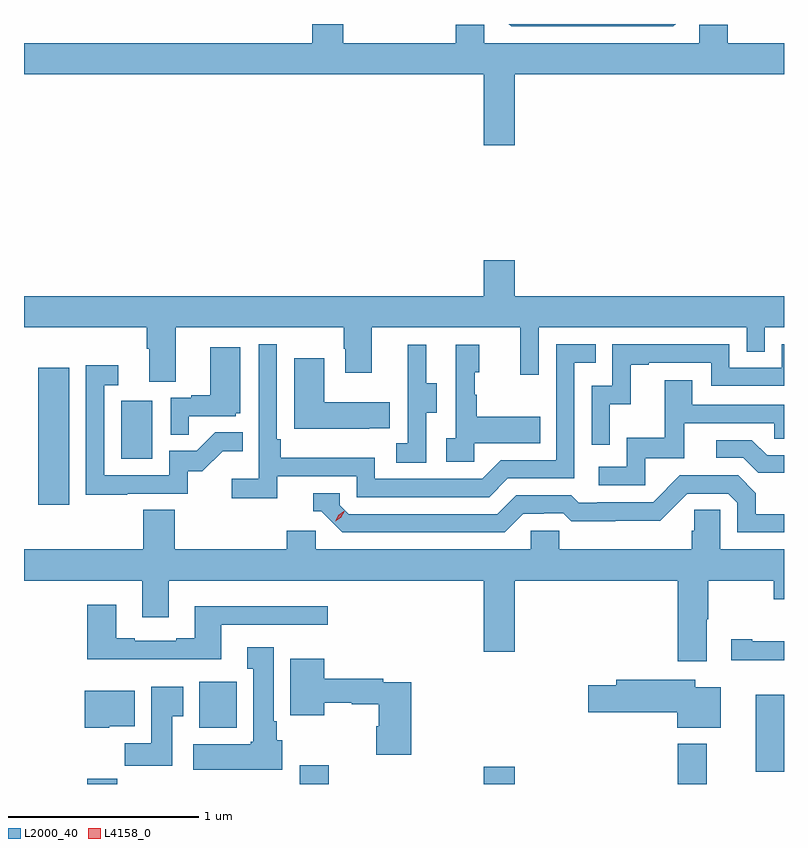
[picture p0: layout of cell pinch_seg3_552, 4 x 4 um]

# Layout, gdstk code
import gdstk
lib = gdstk.Library(unit=1e-6, precision=1e-09)
def R(c, l, rs):  # rectangles x0, y0, x1, y1
    for r in rs: c.add(gdstk.rectangle(r[:2], r[2:], *l))
def P(c, l, *ps):  # polygons
    for p in ps: c.add(gdstk.Polygon(p, *l))
L2000_40 = (2000, 40)
L4158_0 = (4158, 0)

pinch_seg3_552 = lib.new_cell('pinch_seg3_552')
R(pinch_seg3_552, L2000_40, [(1109.975,694.517,1110.131,694.544), (1111.091,694.517,1111.244,694.615), (1112.06,694.517,1112.224,694.609), (1113.083,694.517,1113.235,694.729), (1113.491,694.581,1113.641,694.987), (1110.563,694.814,1110.76,695.056), (1109.717,695.988,1109.878,696.709), (1110.152,696.228,1110.316,696.535)])
P(pinch_seg3_552, L2000_40, [(1112.224,698.252),(1113.641,698.252),(1113.641,698.416),(1113.345,698.416),(1113.345,698.514),(1113.195,698.514),(1113.195,698.416),(1112.064,698.416),(1112.064,698.514),(1111.913,698.514),(1111.913,698.416),(1111.322,698.416),(1111.322,698.517),(1111.157,698.517),(1111.157,698.416),(1109.641,698.416),(1109.641,698.252),(1112.06,698.252),(1112.06,697.878),(1112.224,697.878)],
  [(1113.07,698.517),(1112.193,698.517),(1112.205,698.505),(1113.058,698.505)],
  [(1110.439,696.92),(1111.324,696.92),(1111.324,696.809),(1111.331,696.809),(1111.331,696.681),(1111.471,696.681),(1111.471,696.92),(1112.252,696.92),(1112.252,696.672),(1112.349,696.672),(1112.349,696.92),(1113.444,696.92),(1113.444,696.793),(1113.54,696.793),(1113.54,696.92),(1113.641,696.92),(1113.641,697.084),(1112.224,697.084),(1112.224,697.273),(1112.06,697.273),(1112.06,697.084),(1109.641,697.084),(1109.641,696.92),(1110.287,696.92),(1110.287,696.808),(1110.299,696.808),(1110.299,696.634),(1110.439,696.634)],
  [(1110.974,696.138),(1111.392,696.138),(1111.392,696.027),(1112.089,696.027),(1112.188,696.126),(1112.538,696.126),(1112.538,696.735),(1112.651,696.735),(1112.651,696.831),(1112.442,696.831),(1112.442,696.222),(1112.151,696.222),(1112.052,696.123),(1111.488,696.123),(1111.488,696.235),(1110.992,696.235),(1110.992,696.331),(1110.972,696.331),(1110.972,696.832),(1110.876,696.832),(1110.876,696.124),(1110.735,696.124),(1110.735,696.022),(1110.974,696.022)],
  [(1112.724,696.515),(1112.834,696.515),(1112.834,696.723),(1112.929,696.723),(1112.929,696.735),(1113.258,696.735),(1113.258,696.612),(1113.641,696.612),(1113.641,696.831),(1113.63,696.831),(1113.63,696.708),(1113.354,696.708),(1113.354,696.831),(1112.736,696.831),(1112.736,696.612),(1112.628,696.612),(1112.628,696.303),(1112.724,696.303)],
  [(1112.01,696.311),(1112.357,696.311),(1112.357,696.451),(1112.023,696.451),(1112.023,696.566),(1112.013,696.566),(1112.013,696.684),(1112.038,696.684),(1112.038,696.829),(1111.914,696.829),(1111.914,696.338),(1111.863,696.338),(1111.863,696.213),(1112.01,696.213)],
  [(1111.758,696.472),(1111.813,696.472),(1111.813,696.627),(1111.759,696.627),(1111.759,696.829),(1111.661,696.829),(1111.661,696.615),(1111.662,696.615),(1111.662,696.311),(1111.599,696.311),(1111.599,696.208),(1111.758,696.208)],
  [(1110.509,696.453),(1110.756,696.453),(1110.756,696.468),(1110.778,696.468),(1110.778,696.817),(1110.62,696.817),(1110.62,696.562),(1110.521,696.562),(1110.521,696.549),(1110.414,696.549),(1110.414,696.355),(1110.509,696.355)],
  [(1111.457,696.389),(1111.565,696.389),(1111.565,696.526),(1111.222,696.526),(1111.222,696.757),(1111.064,696.757),(1111.064,696.386),(1111.457,696.386)],
  [(1110.185,696.045),(1110.504,696.045),(1110.504,696.162),(1110.58,696.162),(1110.687,696.269),(1110.791,696.269),(1110.791,696.368),(1110.647,696.368),(1110.549,696.27),(1110.405,696.27),(1110.405,696.141),(1110.063,696.141),(1110.063,696.615),(1110.136,696.615),(1110.136,696.721),(1109.967,696.721),(1109.967,696.04),(1110.185,696.04)],
  [(1112.91,696.231),(1113.115,696.231),(1113.115,696.417),(1113.589,696.417),(1113.589,696.333),(1113.641,696.333),(1113.641,696.513),(1113.157,696.513),(1113.157,696.643),(1113.013,696.643),(1113.013,696.34),(1112.814,696.34),(1112.814,696.186),(1112.667,696.186),(1112.667,696.09),(1112.91,696.09)],
  [(1113.641,696.246),(1113.553,696.246),(1113.472,696.327),(1113.285,696.327),(1113.285,696.234),(1113.426,696.234),(1113.506,696.154),(1113.641,696.154)],
  [(1112.269,695.94),(1112.376,695.94),(1112.376,695.943),(1112.479,695.943),(1112.521,695.901),(1112.754,695.901),(1112.754,695.903),(1112.99,695.903),(1113.132,696.045),(1113.348,696.045),(1113.396,695.997),(1113.396,695.841),(1113.641,695.841),(1113.641,695.937),(1113.493,695.937),(1113.493,696.047),(1113.399,696.141),(1113.093,696.141),(1112.952,696),(1112.659,696),(1112.659,695.997),(1112.56,695.997),(1112.521,696.036),(1112.232,696.036),(1112.133,695.937),(1111.35,695.937),(1111.302,695.985),(1111.302,696.048),(1111.163,696.048),(1111.163,695.952),(1111.206,695.952),(1111.317,695.841),(1112.17,695.841)],
  [(1113.169,695.96),(1113.169,695.85),(1113.155,695.85),(1113.155,695.752),(1112.457,695.752),(1112.457,695.85),(1112.307,695.85),(1112.307,695.752),(1111.176,695.752),(1111.176,695.85),(1111.025,695.85),(1111.025,695.752),(1110.434,695.752),(1110.434,695.96),(1110.269,695.96),(1110.269,695.752),(1109.641,695.752),(1109.641,695.588),(1110.263,695.588),(1110.263,695.394),(1110.403,695.394),(1110.403,695.588),(1112.06,695.588),(1112.06,695.214),(1112.224,695.214),(1112.224,695.588),(1113.083,695.588),(1113.083,695.163),(1113.235,695.163),(1113.235,695.384),(1113.243,695.384),(1113.243,695.588),(1113.586,695.588),(1113.586,695.489),(1113.641,695.489),(1113.641,695.752),(1113.306,695.752),(1113.306,695.96)],
  [(1110.679,695.355),(1111.24,695.355),(1111.24,695.452),(1110.539,695.452),(1110.539,695.284),(1110.443,695.284),(1110.443,695.271),(1110.223,695.271),(1110.223,695.284),(1110.127,695.284),(1110.127,695.461),(1109.975,695.461),(1109.975,695.174),(1110.679,695.174)],
  [(1113.638,695.169),(1113.641,695.169),(1113.641,695.268),(1113.475,695.268),(1113.475,695.278),(1113.363,695.278),(1113.363,695.168),(1113.638,695.168)],
  [(1111,694.746),(1110.97,694.746),(1110.97,694.846),(1110.955,694.846),(1110.955,695.236),(1110.815,695.236),(1110.815,695.123),(1110.848,695.123),(1110.848,694.74),(1110.835,694.74),(1110.835,694.726),(1110.531,694.726),(1110.531,694.592),(1111,694.592)],
  [(1111.679,695.052),(1111.532,695.052),(1111.532,695.072),(1111.222,695.072),(1111.222,695.176),(1111.043,695.176),(1111.043,694.88),(1111.222,694.88),(1111.222,694.944),(1111.365,694.944),(1111.365,694.936),(1111.508,694.936),(1111.508,694.821),(1111.496,694.821),(1111.496,694.671),(1111.679,694.671)],
  [(1113.307,695.026),(1113.174,695.026),(1113.174,695.066),(1112.759,695.066),(1112.759,695.036),(1112.61,695.036),(1112.61,694.894),(1113.08,694.894),(1113.08,694.814),(1113.307,694.814)],
  [(1110.421,694.873),(1110.478,694.873),(1110.478,695.029),(1110.311,695.029),(1110.311,694.732),(1110.172,694.732),(1110.172,694.614),(1110.421,694.614)],
  [(1110.09,694.82),(1110.223,694.82),(1110.223,695.008),(1109.96,695.008),(1109.96,694.814),(1110.09,694.814)])
P(pinch_seg3_552, L4158_0, [(1111.278,695.9),(1111.278,695.9),(1111.294,695.932),(1111.325,695.952),(1111.326,695.952),(1111.326,695.951),(1111.309,695.919),(1111.278,695.9)])

lib.write_gds('pinch_seg3_552.gds')
